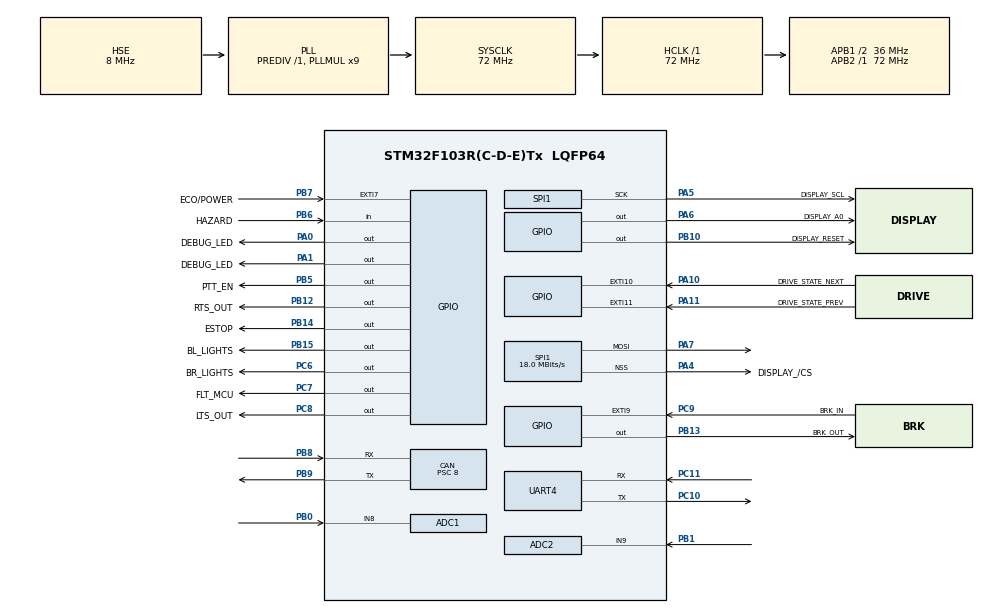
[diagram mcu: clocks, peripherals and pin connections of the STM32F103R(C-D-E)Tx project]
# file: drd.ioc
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ADC1.Channel-0\#ChannelRegularConversion=ADC_CHANNEL_8
ADC1.NbrOfConversionFlag=1
ADC1.Rank-0\#ChannelRegularConversion=1
ADC1.SamplingTime-0\#ChannelRegularConversion=ADC_SAMPLETIME_1CYCLE_5
ADC1.master=1
ADC2.Channel-0\#ChannelRegularConversion=ADC_CHANNEL_9
ADC2.NbrOfConversionFlag=1
ADC2.Rank-0\#ChannelRegularConversion=1
ADC2.SamplingTime-0\#ChannelRegularConversion=ADC_SAMPLETIME_1CYCLE_5
CAN.ABOM=ENABLE
CAN.BS1=CAN_BS1_4TQ
CAN.BS2=CAN_BS2_4TQ
CAN.CalculateBaudRate=500000
CAN.CalculateTimeBit=2000
CAN.CalculateTimeQuantum=222.22222222222223
CAN.NART=ENABLE
CAN.Prescaler=8
FREERTOS.Tasks01=defaultTask,24,128,StartDefaultTask,Default,NULL,Dynamic,NULL,NULL
Mcu.Family=STM32F1
Mcu.Name=STM32F103R(C-D-E)Tx
Mcu.Package=LQFP64
NVIC.CAN1_SCE_IRQn=true\:5\:0\:false\:false\:true\:true\:true\:true\:true
NVIC.EXTI15_10_IRQn=true\:5\:0\:false\:false\:true\:true\:true\:true\:true
NVIC.EXTI9_5_IRQn=true\:5\:0\:false\:false\:true\:true\:true\:true\:true
NVIC.PriorityGroup=NVIC_PRIORITYGROUP_4
NVIC.USB_HP_CAN1_TX_IRQn=true\:5\:0\:false\:false\:true\:true\:true\:true\:true
NVIC.USB_LP_CAN1_RX0_IRQn=true\:5\:0\:false\:false\:true\:true\:true\:true\:true
PA0-WKUP.GPIO_Label=DEBUG_LED
PA0-WKUP.Signal=GPIO_Output
PA1.GPIO_Label=DEBUG_LED
PA1.GPIO_PuPd=GPIO_NOPULL
PA1.Signal=GPIO_Output
PA10.GPIO_Label=DRIVE_STATE_NEXT
PA10.GPIO_ModeDefaultEXTI=GPIO_MODE_IT_FALLING
PA10.GPIO_PuPd=GPIO_PULLUP
PA10.Signal=GPXTI10
PA11.GPIO_Label=DRIVE_STATE_PREV
PA11.GPIO_ModeDefaultEXTI=GPIO_MODE_IT_FALLING
PA11.GPIO_PuPd=GPIO_PULLUP
PA11.Signal=GPXTI11
PA13.Mode=Trace_Asynchronous_SW
PA13.Signal=SYS_JTMS-SWDIO
PA14.Mode=Trace_Asynchronous_SW
PA14.Signal=SYS_JTCK-SWCLK
PA4.GPIO_Label=DISPLAY_/CS
PA4.Mode=NSS_Signal_Hard_Output
PA4.Signal=SPI1_NSS
PA5.GPIO_Label=DISPLAY_SCL
PA5.Mode=TX_Only_Simplex_Unidirect_Master
PA5.Signal=SPI1_SCK
PA6.GPIO_Label=DISPLAY_A0
PA6.GPIO_PuPd=GPIO_NOPULL
PA6.Signal=GPIO_Output
PA7.Mode=TX_Only_Simplex_Unidirect_Master
PA7.Signal=SPI1_MOSI
PB0.Signal=ADCx_IN8
PB1.Signal=ADCx_IN9
PB10.GPIO_Label=DISPLAY_RESET
PB10.Signal=GPIO_Output
PB12.GPIO_Label=RTS_OUT
PB12.Signal=GPIO_Output
PB13.GPIO_Label=BRK_OUT
PB13.Signal=GPIO_Output
PB14.GPIO_Label=ESTOP
PB14.Signal=GPIO_Output
PB15.GPIO_Label=BL_LIGHTS
PB15.Signal=GPIO_Output
PB3.Mode=Trace_Asynchronous_SW
PB3.Signal=SYS_JTDO-TRACESWO
PB5.GPIO_Label=PTT_EN
PB5.Signal=GPIO_Output
PB6.GPIO_Label=HAZARD
PB6.Signal=GPIO_Input
PB7.GPIO_Label=ECO/POWER
PB7.GPIO_ModeDefaultEXTI=GPIO_MODE_IT_FALLING
PB7.GPIO_PuPd=GPIO_PULLUP
PB7.Signal=GPXTI7
PB8.Mode=CAN_Activate
PB8.Signal=CAN_RX
PB9.Mode=CAN_Activate
PB9.Signal=CAN_TX
PC10.Mode=Asynchronous
PC10.Signal=UART4_TX
PC11.Mode=Asynchronous
PC11.Signal=UART4_RX
PC6.GPIO_Label=BR_LIGHTS
PC6.Signal=GPIO_Output
PC7.GPIO_Label=FLT_MCU
PC7.Signal=GPIO_Output
PC8.GPIO_Label=LTS_OUT
PC8.Signal=GPIO_Output
PC9.GPIO_Label=BRK_IN
PC9.GPIO_ModeDefaultEXTI=GPIO_MODE_IT_FALLING
PC9.GPIO_PuPd=GPIO_PULLUP
PC9.Signal=GPXTI9
PD0-OSC_IN.Mode=HSE-External-Oscillator
PD0-OSC_IN.Signal=RCC_OSC_IN
PD1-OSC_OUT.Mode=HSE-External-Oscillator
PD1-OSC_OUT.Signal=RCC_OSC_OUT
ProjectManager.HeapSize=0x200
ProjectManager.StackSize=0x400
ProjectManager.TargetToolchain=CMake
RCC.ADCPresc=RCC_ADCPCLK2_DIV6
RCC.AHBFreq_Value=72000000
RCC.APB1CLKDivider=RCC_HCLK_DIV2
RCC.APB1Freq_Value=36000000
RCC.APB1TimFreq_Value=72000000
RCC.APB2Freq_Value=72000000
RCC.APB2TimFreq_Value=72000000
RCC.HCLKFreq_Value=72000000
RCC.PLLMUL=RCC_PLL_MUL9
RCC.PLLSourceVirtual=RCC_PLLSOURCE_HSE
RCC.SYSCLKFreq_VALUE=72000000
RCC.SYSCLKSource=RCC_SYSCLKSOURCE_PLLCLK
RCC.USBFreq_Value=72000000
SH.ADCx_IN8.0=ADC1_IN8,IN8
SH.ADCx_IN9.0=ADC2_IN9,IN9
SPI1.BaudRatePrescaler=SPI_BAUDRATEPRESCALER_4
SPI1.CalculateBaudRate=18.0 MBits/s
SPI1.Direction=SPI_DIRECTION_2LINES
SPI1.Mode=SPI_MODE_MASTER
SPI1.VirtualNSS=VM_NSSHARD
SPI1.VirtualType=VM_MASTER
UART4.VirtualMode=Asynchronous
VP_ADC1_TempSens_Input.Mode=IN-TempSens
VP_ADC1_Vref_Input.Mode=IN-Vrefint
VP_FREERTOS_VS_CMSIS_V2.Mode=CMSIS_V2
VP_IWDG_VS_IWDG.Mode=IWDG_Activate
board=custom

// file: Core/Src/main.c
/* USER CODE BEGIN Header */
/**
  ******************************************************************************
  * @file           : main.c
  * @brief          : Main program body
  ******************************************************************************
  * @attention
  *
  * Copyright (c) 2026 STMicroelectronics.
  * All rights reserved.
  *
  * This software is licensed under terms that can be found in the LICENSE file
  * in the root directory of this software component.
  * If no LICENSE file comes with this software, it is provided AS-IS.
  *
  ******************************************************************************
  */
/* USER CODE END Header */
#include "main.h"
#include "cmsis_os.h"
#include "adc.h"
#include "can.h"
#include "iwdg.h"
#include "spi.h"
#include "usart.h"
#include "gpio.h"

/* USER CODE BEGIN Includes */
#include "can_app.h"
/* USER CODE END Includes */

void SystemClock_Config(void);
void MX_FREERTOS_Init(void);

int main(void)
{

  /* MCU Configuration--------------------------------------------------------*/

  /* Reset of all peripherals, Initializes the Flash interface and the Systick. */
  HAL_Init();

  /* Configure the system clock */
  SystemClock_Config();

  /* Initialize all configured peripherals */
  MX_GPIO_Init();
  MX_ADC1_Init();
  MX_ADC2_Init();
  MX_CAN_Init();
  MX_SPI1_Init();
  MX_UART4_Init();
  #ifndef DEBUG
  MX_IWDG_Init();
  #endif // DEBUG

  /* USER CODE BEGIN 2 */

  CanTasksInit();

  /* USER CODE END 2 */

  /* Init scheduler */
  osKernelInitialize();  /* Call init function for freertos objects (in cmsis_os2.c) */
  MX_FREERTOS_Init();

  /* Start scheduler */
  osKernelStart();

  /* We should never get here as control is now taken by the scheduler */

  /* Infinite loop */
  while (1)
  {

  }
}

void SystemClock_Config(void)
{
  RCC_OscInitTypeDef RCC_OscInitStruct = {0};
  RCC_ClkInitTypeDef RCC_ClkInitStruct = {0};
  RCC_PeriphCLKInitTypeDef PeriphClkInit = {0};

  /** Initializes the RCC Oscillators according to the specified parameters
  * in the RCC_OscInitTypeDef structure.
  */
  RCC_OscInitStruct.OscillatorType = RCC_OSCILLATORTYPE_LSI|RCC_OSCILLATORTYPE_HSE;
  RCC_OscInitStruct.HSEState = RCC_HSE_ON;
  RCC_OscInitStruct.HSEPredivValue = RCC_HSE_PREDIV_DIV1;
  RCC_OscInitStruct.HSIState = RCC_HSI_ON;
  RCC_OscInitStruct.LSIState = RCC_LSI_ON;
  RCC_OscInitStruct.PLL.PLLState = RCC_PLL_ON;
  RCC_OscInitStruct.PLL.PLLSource = RCC_PLLSOURCE_HSE;
  RCC_OscInitStruct.PLL.PLLMUL = RCC_PLL_MUL9;
  if (HAL_RCC_OscConfig(&RCC_OscInitStruct) != HAL_OK)
  {
    Error_Handler();
  }

  /** Initializes the CPU, AHB and APB buses clocks
  */
  RCC_ClkInitStruct.ClockType = RCC_CLOCKTYPE_HCLK|RCC_CLOCKTYPE_SYSCLK
                              |RCC_CLOCKTYPE_PCLK1|RCC_CLOCKTYPE_PCLK2;
  RCC_ClkInitStruct.SYSCLKSource = RCC_SYSCLKSOURCE_PLLCLK;
  RCC_ClkInitStruct.AHBCLKDivider = RCC_SYSCLK_DIV1;
  RCC_ClkInitStruct.APB1CLKDivider = RCC_HCLK_DIV2;
  RCC_ClkInitStruct.APB2CLKDivider = RCC_HCLK_DIV1;

  if (HAL_RCC_ClockConfig(&RCC_ClkInitStruct, FLASH_LATENCY_2) != HAL_OK)
  {
    Error_Handler();
  }
  PeriphClkInit.PeriphClockSelection = RCC_PERIPHCLK_ADC;
  PeriphClkInit.AdcClockSelection = RCC_ADCPCLK2_DIV6;
  if (HAL_RCCEx_PeriphCLKConfig(&PeriphClkInit) != HAL_OK)
  {
    Error_Handler();
  }
}

void Error_Handler(void)
{
  __disable_irq();
  while (1)
  {
  }
}

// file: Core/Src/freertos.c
/* USER CODE BEGIN Header */
/**
  ******************************************************************************
  * File Name          : freertos.c
  * Description        : Code for freertos applications
  ******************************************************************************
  * @attention
  *
  * Copyright (c) 2026 STMicroelectronics.
  * All rights reserved.
  *
  * This software is licensed under terms that can be found in the LICENSE file
  * in the root directory of this software component.
  * If no LICENSE file comes with this software, it is provided AS-IS.
  *
  ******************************************************************************
  */
/* USER CODE END Header */

#include "FreeRTOS.h"
#include "task.h"
#include "main.h"
#include "cmsis_os.h"

/* USER CODE BEGIN Includes */
#include "tasks.h"
#include "can_driver.h"
#include "external_lights.h"
/* USER CODE END Includes */

/* USER CODE BEGIN PTD */
typedef StaticTask_t osStaticThreadDef_t;
typedef StaticEventGroup_t osStaticEventGroupDef_t;
typedef StaticEventGroup_t osStaticEventGroupDef_t;
/* USER CODE END PTD */

/* USER CODE BEGIN Variables */

/* Definitions for TasksLcdUpdate */
osThreadId_t TasksLcdUpdateHandle;
uint32_t TasksLcdUpdateBuffer[256];
osStaticThreadDef_t TasksLcdUpdateControlBlock;

const osThreadAttr_t TasksLcdUpdate_attributes = {
  .name = "TasksLcdUpdate",
  .cb_mem = &TasksLcdUpdateControlBlock,
  .cb_size = sizeof(TasksLcdUpdateControlBlock),
  .stack_mem = &TasksLcdUpdateBuffer[0],
  .stack_size = sizeof(TasksLcdUpdateBuffer),
  .priority = (osPriority_t) osPriorityNormal,
};

/* Definitions for TasksDriveState */
osThreadId_t TasksDriveStateHandle;
uint32_t TasksDriveStateBuffer[256];
osStaticThreadDef_t TasksDriveStateControlBlock;

const osThreadAttr_t TasksDriveState_attributes = {
  .name = "TasksDriveState",
  .cb_mem = &TasksDriveStateControlBlock,
  .cb_size = sizeof(TasksDriveStateControlBlock),
  .stack_mem = &TasksDriveStateBuffer[0],
  .stack_size = sizeof(TasksDriveStateBuffer),
  .priority = (osPriority_t) osPriorityLow,
};

/* Definitions for TasksCalculateSoc */
osThreadId_t TasksCalculateSocHandle;
uint32_t TasksCalculateSocBuffer[512];
osStaticThreadDef_t TasksCalculateSocControlBlock;

const osThreadAttr_t TasksCalculateSoc_attributes = {
  .name = "TasksCalculateSoc",
  .cb_mem = &TasksCalculateSocControlBlock,
  .cb_size = sizeof(TasksCalculateSocControlBlock),
  .stack_mem = &TasksCalculateSocBuffer[0],
  .stack_size = sizeof(TasksCalculateSocBuffer),
  .priority = (osPriority_t) osPriorityLow,
};

/* Definitions for TasksExternalLights */
osThreadId_t TasksExternalLightsHandle;
uint32_t TasksExternalLightsBuffer[256];
osStaticThreadDef_t TasksExternalLightsControlBlock;

const osThreadAttr_t TasksExternalLights_attributes = {
  .name = "TasksExtLights",
  .cb_mem = &TasksExternalLightsControlBlock,
  .cb_size = sizeof(TasksExternalLightsControlBlock),
  .stack_mem = &TasksExternalLightsBuffer[0],
  .stack_size = sizeof(TasksExternalLightsBuffer),
  .priority = (osPriority_t) osPriorityLow,
};

osEventFlagsId_t calculate_soc_flagHandle;
osStaticEventGroupDef_t calculate_soc_flagControlBlock;
const osEventFlagsAttr_t calculate_soc_flag_attributes = {
  .name = "calculate_soc_flag",
  .cb_mem = &calculate_soc_flagControlBlock,
  .cb_size = sizeof(calculate_soc_flagControlBlock),
};

/* Definitions for TasksDiagnostic */
osThreadId_t TasksDiagnosticHandle;
uint32_t TasksDiagnosticBuffer[128];
osStaticThreadDef_t TasksDiagnosticControlBlock;

const osThreadAttr_t TasksDiagnostic_attributes = {
  .name = "TasksDiagnostic",
  .cb_mem = &TasksDiagnosticControlBlock,
  .cb_size = sizeof(TasksDiagnosticControlBlock),
  .stack_mem = &TasksDiagnosticBuffer[0],
  .stack_size = sizeof(TasksDiagnosticBuffer),
  .priority = (osPriority_t) osPriorityNormal,
};

/* Definitions for TasksWatchDog */
osThreadId_t TasksIWDGHandle;
uint32_t TasksIWDGBuffer[128];
osStaticThreadDef_t TasksIWDGControlBlock;

const osThreadAttr_t TasksIWDG_attributes = {
  .name = "TasksIWDG",
  .cb_mem = &TasksIWDGControlBlock,
  .cb_size = sizeof(TasksIWDGControlBlock),
  .stack_mem = &TasksIWDGBuffer[0],
  .stack_size = sizeof(TasksIWDGBuffer),
  .priority = (osPriority_t) osPriorityLow,
};

/* Definitions for TasksFaultLightFlash */
osThreadId_t TasksFaultLightFlashHandle;
uint32_t TasksFaultLightFlashBuffer[128];
osStaticThreadDef_t TasksFaultLightFlashControlBlock;

const osThreadAttr_t TasksFaultLightFlash_attributes = {
  .name = "TasksFaultLightFlash",
  .cb_mem = &TasksFaultLightFlashControlBlock,
  .cb_size = sizeof(TasksFaultLightFlashControlBlock),
  .stack_mem = &TasksFaultLightFlashBuffer[0],
  .stack_size = sizeof(TasksFaultLightFlashBuffer),
  .priority = (osPriority_t) osPriorityLow,
};

/* Definitions for TasksTimeSinceStartup */
osThreadId_t TasksTimeSinceStartupHandle;
uint32_t TasksTimeSinceStartupBuffer[128];
osStaticThreadDef_t TasksTimeSinceStartupControlBlock;

const osThreadAttr_t TasksTimeSinceStartup_attributes = {
  .name = "TasksTimeSinceStartup",
  .cb_mem = &TasksTimeSinceStartupControlBlock,
  .cb_size = sizeof(TasksTimeSinceStartupControlBlock),
  .stack_mem = &TasksTimeSinceStartupBuffer[0],
  .stack_size = sizeof(TasksTimeSinceStartupBuffer),
  .priority = (osPriority_t) osPriorityLow,
};

/* USER CODE END Variables */
/* Definitions for defaultTask */
osThreadId_t defaultTaskHandle;
const osThreadAttr_t defaultTask_attributes = {
  .name = "defaultTask",
  .stack_size = 128 * 4,
  .priority = (osPriority_t) osPriorityNormal,
};

void StartDefaultTask(void *argument);

void MX_FREERTOS_Init(void); /* (MISRA C 2004 rule 8.1) */

void MX_FREERTOS_Init(void) {

  /* Create the thread(s) */
  /* creation of defaultTask */
  defaultTaskHandle = osThreadNew(StartDefaultTask, NULL, &defaultTask_attributes);

  /* USER CODE BEGIN RTOS_THREADS */

  /* creation of TasksCalculateSoc */
  TasksCalculateSocHandle = osThreadNew(TasksCalculateSoc, NULL, &TasksCalculateSoc_attributes);
  /* creation of TasksDriveState */
  TasksDriveStateHandle = osThreadNew(TasksDriveState, NULL, &TasksDriveState_attributes);
  /* creation of TasksLcdUpdate */
  TasksLcdUpdateHandle = osThreadNew(TasksLcdUpdate, NULL, &TasksLcdUpdate_attributes);
  /* creation of TasksExternalLights */
  TasksExternalLightsHandle = osThreadNew(TasksExternalLights, NULL, &TasksExternalLights_attributes);
  /* creation of TasksDiagnostic */
  TasksDiagnosticHandle = osThreadNew(TasksDiagnostic, NULL, &TasksDiagnostic_attributes);
  /* creation of TasksFaultLightFlash */
  TasksFaultLightFlashHandle = osThreadNew(TasksFaultLightFlash, NULL, &TasksFaultLightFlash_attributes);
  /* creation of TasksTimeSinceStartup */
  TasksTimeSinceStartupHandle = osThreadNew(TasksTimeSinceStartup, NULL, &TasksTimeSinceStartup_attributes);
  /* Initialization for TasksIWDG */
  TasksIWDGHandle = osThreadNew(TasksIWDG, NULL, &TasksIWDG_attributes);

  /* USER CODE END RTOS_THREADS */

}

void StartDefaultTask(void *argument)
{
  /* USER CODE BEGIN StartDefaultTask */
  /* Infinite loop */
  for(;;)
  {
    osDelay(100);
  }
  /* USER CODE END StartDefaultTask */
}
